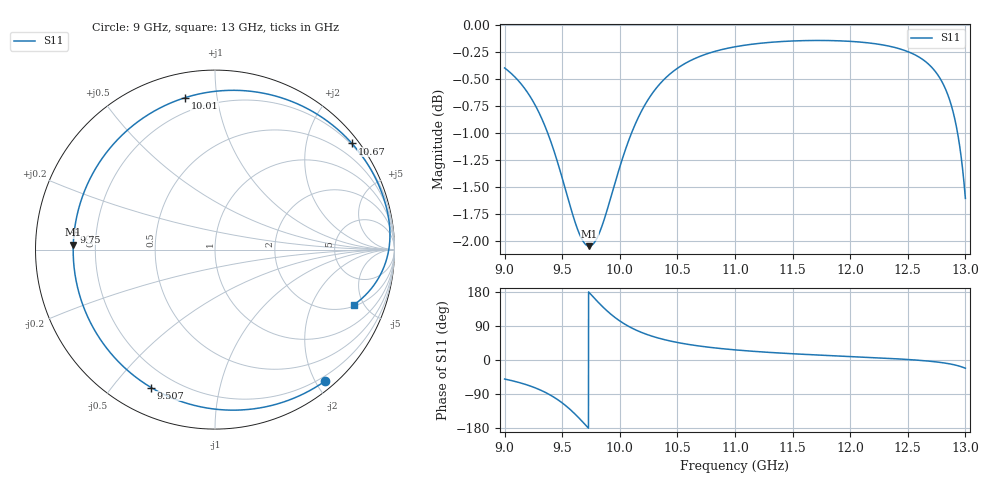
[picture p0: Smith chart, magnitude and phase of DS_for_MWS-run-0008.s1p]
! TOUCHSTONE file generated by CST DESIGN STUDIO
! Date and time: Tue Feb  4 14:03:07 2025
! Project name: C:\Work\MatlabApps\UnitCellOptimizationMatlab\CST\unitcell.cst
! Tree item: Tasks\Sweep1\SPara1\S-Parameters
! Header version: 2024
! Port assignment regex: !\s*Touchstone port\s*([0-9]+)\s*=\s*(CST MWS port|CST DES external port|CST DES block port)\s*(.+)\s* \(\"(.*)\"\)(\s*mode\s*([0-9]+))?.*
! Touchstone port assignment:
! Touchstone port 1 = CST DES external port 1 ("")
# GHz S MA R 50
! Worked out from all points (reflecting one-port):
!   4001 points, 9 GHz to 13 GHz, reference 50 ohm
!   lowest |S11| = -2.0 dB at 9.734 GHz (marker M1), VSWR 8.53, Z = 5.86 + j0.86 ohm
!   phase of S11 starts at -50 deg and turns -332 deg over the sweep
!   S11 on the Smith chart (normalised r, x): 9 GHz: 0.13, -2.13; 9.507 GHz: 0.12, -0.63; 9.75 GHz: 0.12, +0.06; 10.01 GHz: 0.12, +0.81; 10.67 GHz: 0.17, +2.91; 13 GHz: 2.09, -4.19
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9  0.955 -50.2
9.135  0.9401 -60.2
9.261  0.9188 -73.0
9.395  0.885 -92.2
9.5  0.8496 -113.2
9.507  0.847 -114.8
9.572  0.8236 -131.4
9.637  0.8035 -150.4
9.687  0.7934 -166.4
9.734  0.7902 178.0
9.75  0.7905 172.7
9.81  0.7985 153.1
9.879  0.8175 132.5
9.938  0.8378 117.0
10  0.8596 103.0
10.009  0.8626 101.2
10.106  0.8923 84.1
10.233  0.9211 67.6
10.357  0.9401 56.0
10.5  0.9546 46.2
10.669  0.9655 37.8
11  0.9767 26.7
11.5  0.9828 16.5
12  0.9824 9.1
12.5  0.9717 1.3
12.83  0.9331 -8.4
12.921  0.8977 -14.0
13  0.8313 -21.8
